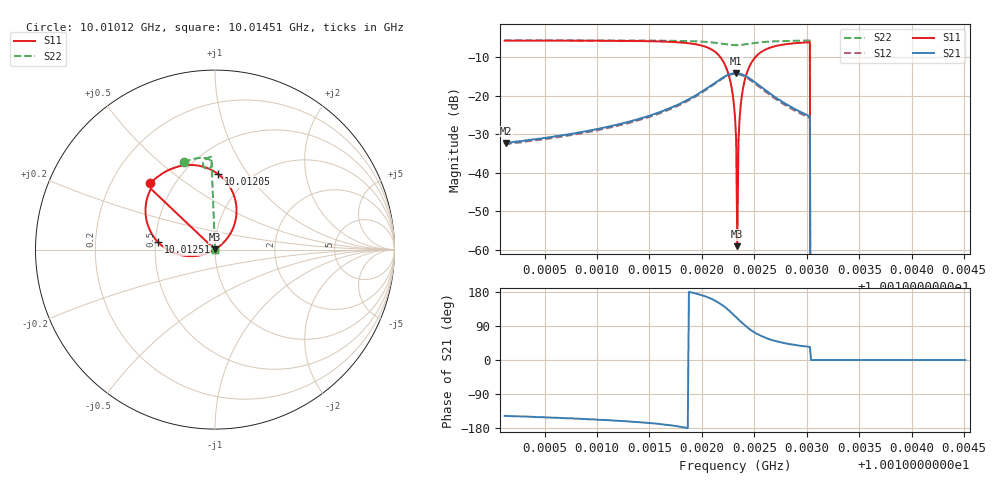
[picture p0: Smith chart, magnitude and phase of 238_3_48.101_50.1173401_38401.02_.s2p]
#  HZ  S  RI  R  50.00
! Rohde & Schwarz Vector Network Analyzer
! Rohde-Schwarz,ZNB20-2Port,1311601062101988,3.16
! Created: UTC 12/23/2023, 3:58:29 AM
! freq[Hz]  re:S11  im:S11  re:S21  im:S21  re:S12  im:S12  re:S22  im:S22
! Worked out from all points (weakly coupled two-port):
!   401 points, 10.01012 GHz to 10.01451 GHz, reference 50 ohm
!   highest |S21| = -14.18 dB at 10.01233 GHz (marker M1); lowest = -32.3 dB at 10.01013 GHz (marker M2)
!   lowest |S11| = -59.1 dB at 10.01234 GHz (marker M3), VSWR 1.00, Z = 50 + j0.108 ohm
!   |S11| at or under -10 dB: 10.01217 GHz to 10.01251 GHz (335.4 kHz wide, 0.00335 % of centre); 10.01303 GHz to end of sweep
!   |S22| runs from - to -5.7 dB; largest |S21 - S12| = 0.0096
!   S11 on the Smith chart (normalised r, x): 10.01012 GHz: 0.37, +0.37; 10.01205 GHz: 0.72, +0.74; 10.01251 GHz: 0.52, +0.05; 10.01451 GHz: 1.00, +0.00
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1.0010119e10  -0.3598 0.3706  -0.0205 -0.0131  -0.0192 -0.0135  -0.1746 0.4885
1.001013e10  -0.359 0.3715  -0.0205 -0.0129  -0.0191 -0.0137  -0.1742 0.4888
1.0010855e10  -0.3037 0.4172  -0.0306 -0.014  -0.0288 -0.015  -0.1268 0.5035
1.001159e10  -0.195 0.4652  -0.0593 -0.0117  -0.0565 -0.0143  -0.0716 0.5114
1.0012052e10  0.017 0.4211  -0.1216 0.0302  -0.1196 0.023  -0.025 0.4955
1.0012172e10  0.1055 0.3011  -0.1386 0.0843  -0.1398 0.0748  -0.0166 0.4757
1.0012249e10  0.1138 0.1606  -0.126 0.1362  -0.129 0.1283  -0.022 0.4589
1.0012293e10  0.0746 0.0717  -0.1011 0.1651  -0.1058 0.1573  -0.0312 0.4518
1.0012304e10  0.0591 0.0516  -0.0934 0.1708  -0.0981 0.1634  -0.0339 0.4506
1.0012315e10  0.0415 0.033  -0.0848 0.176  -0.0893 0.1689  -0.0368 0.4499
1.0012326e10  0.0219 0.016  -0.0757 0.1801  -0.0805 0.1731  -0.0398 0.4496
1.0012337e10  0.000241 0.00108  -0.0664 0.1835  -0.0708 0.1768  -0.0429 0.4496
1.0012359e10  -0.0461 -0.0215  -0.0474 0.187  -0.0517 0.1806  -0.0487 0.4505
1.001237e10  -0.0702 -0.029  -0.038 0.1874  -0.0423 0.1811  -0.0516 0.4518
1.0012403e10  -0.1431 -0.0368  -0.00985 0.1832  -0.0152 0.1773  -0.0587 0.4565
1.0012513e10  -0.3169 0.0414  0.0481 0.138  0.0414 0.1342  -0.0664 0.4794
1.0012677e10  -0.386 0.1904  0.0616 0.0784  0.0557 0.077  -0.0538 0.5021
1.0013007e10  -0.3599 0.3334  0.0452 0.032  0.0415 0.0323  -0.0223 0.517
1.0013051e10  0 0  0 0  0 0  0 0
1.0013062e10  0 0  0 0  0 0  0 0
1.0013786e10  0 0  0 0  0 0  0 0
1.0014511e10  0 0  0 0  0 0  0 0
